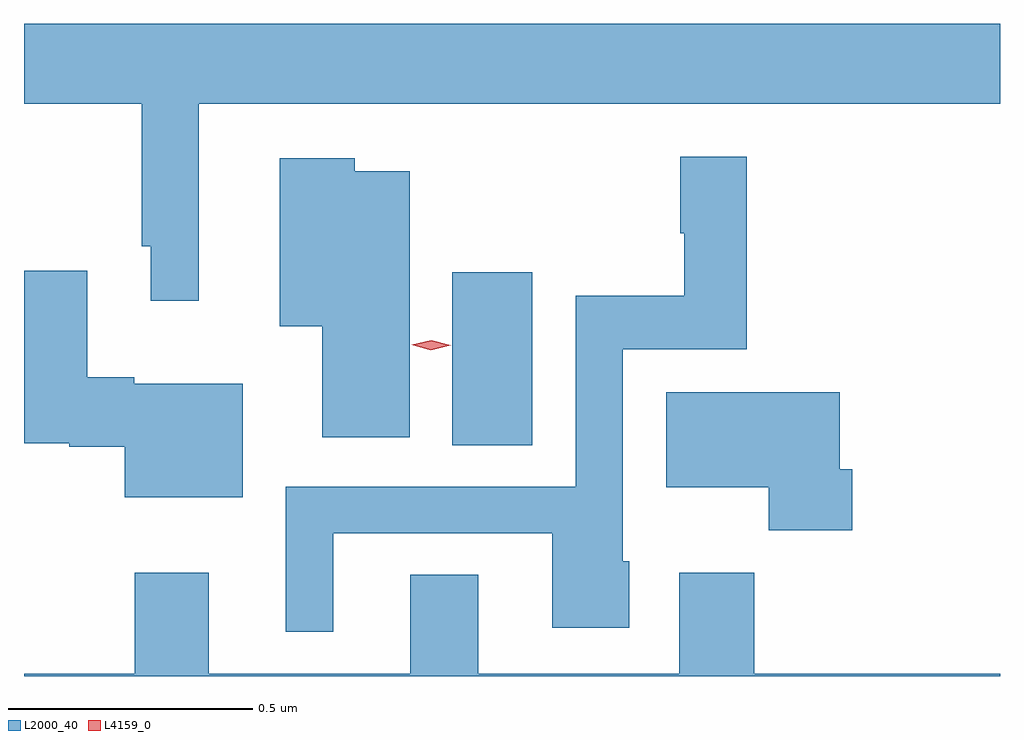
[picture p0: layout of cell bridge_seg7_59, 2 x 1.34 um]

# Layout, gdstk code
import gdstk
lib = gdstk.Library(unit=1e-6, precision=1e-09)
def R(c, l, rs):  # rectangles x0, y0, x1, y1
    for r in rs: c.add(gdstk.rectangle(r[:2], r[2:], *l))
def P(c, l, *ps):  # polygons
    for p in ps: c.add(gdstk.Polygon(p, *l))
L2000_40 = (2000, 40)
L4159_0 = (4159, 0)

bridge_seg7_59 = lib.new_cell('bridge_seg7_59')
R(bridge_seg7_59, L2000_40, [(978.992,1014.568,979.156,1014.922)])
P(bridge_seg7_59, L2000_40, [(978.472,1015.268),(980.114,1015.268),(980.114,1015.432),(978.114,1015.432),(978.114,1015.268),(978.355,1015.268),(978.355,1014.976),(978.374,1014.976),(978.374,1014.864),(978.472,1014.864)],
  [(978.748,1014.387),(979.196,1014.387),(979.196,1014.194),(979.354,1014.194),(979.354,1014.33),(979.341,1014.33),(979.341,1014.765),(979.595,1014.765),(979.595,1015.159),(979.459,1015.159),(979.459,1015.002),(979.467,1015.002),(979.467,1014.874),(979.245,1014.874),(979.245,1014.483),(978.65,1014.483),(978.65,1014.186),(978.748,1014.186)],
  [(978.904,1015.129),(978.792,1015.129),(978.792,1015.156),(978.638,1015.156),(978.638,1014.812),(978.725,1014.812),(978.725,1014.584),(978.904,1014.584)],
  [(978.562,1014.694),(978.34,1014.694),(978.34,1014.707),(978.244,1014.707),(978.244,1014.925),(978.114,1014.925),(978.114,1014.572),(978.207,1014.572),(978.207,1014.565),(978.32,1014.565),(978.32,1014.461),(978.562,1014.461)],
  [(979.811,1014.519),(979.786,1014.519),(979.786,1014.676),(979.43,1014.676),(979.43,1014.482),(979.64,1014.482),(979.64,1014.394),(979.811,1014.394)],
  [(980.114,1014.1),(979.61,1014.1),(979.61,1014.307),(979.457,1014.307),(979.457,1014.1),(979.045,1014.1),(979.045,1014.302),(978.905,1014.302),(978.905,1014.1),(978.493,1014.1),(978.493,1014.307),(978.341,1014.307),(978.341,1014.1),(978.114,1014.1),(978.114,1014.094),(980.114,1014.094)])
P(bridge_seg7_59, L4159_0, [(978.948,1014.763),(978.909,1014.774),(978.909,1014.774),(978.909,1014.774),(978.949,1014.783),(978.988,1014.773),(978.988,1014.773),(978.988,1014.773)])

lib.write_gds('bridge_seg7_59.gds')
